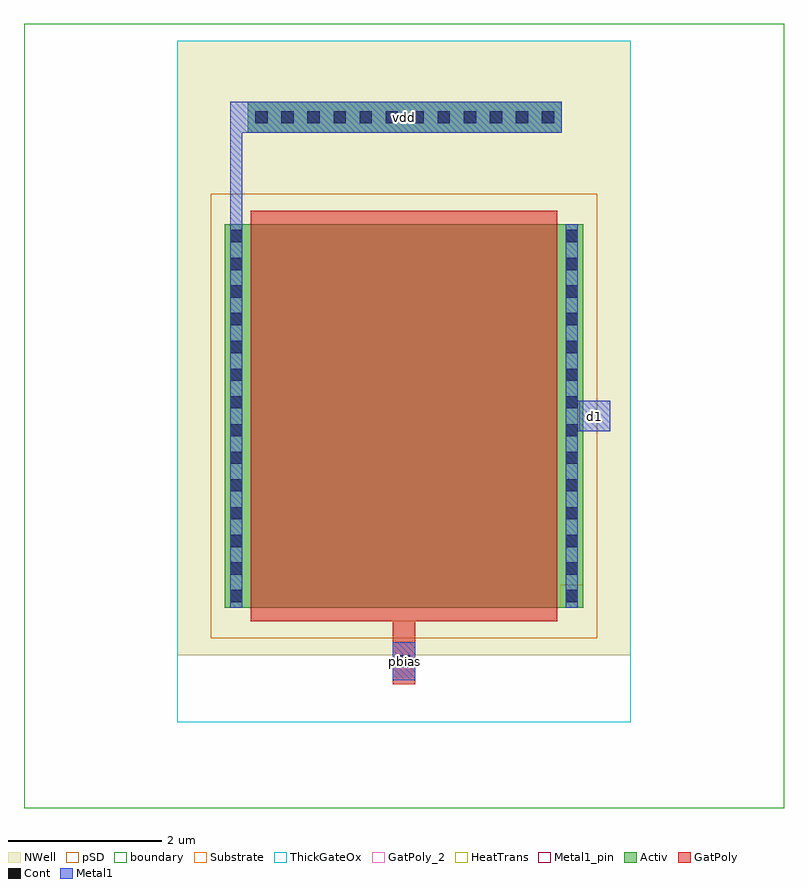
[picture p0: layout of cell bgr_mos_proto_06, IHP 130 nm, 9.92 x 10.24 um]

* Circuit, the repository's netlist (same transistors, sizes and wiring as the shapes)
.subckt bgr_mos_proto_06 d1 pbias vdd
MUNIT d1 pbias vdd vdd sg13_hv_pmos l=4u w=5u as=1.7p ad=1.7p ps=10.68u pd=10.68u rfmode=0
.ends bgr_mos_proto_06

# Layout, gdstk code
import gdstk
lib = gdstk.Library(unit=1e-6, precision=1e-09)
def R(c, l, rs):  # rectangles x0, y0, x1, y1
    for r in rs: c.add(gdstk.rectangle(r[:2], r[2:], *l))
def A(c, l, x, y, w, h, nx, ny, dx, dy):  # array of equal rectangles
    R(c, l, [(x+i*dx, y+j*dy, x+i*dx+w, y+j*dy+h) for i in range(nx) for j in range(ny)])
Activ = (1, 0)
GatPoly = (5, 0)
GatPoly_2 = (5, 2)
Cont = (6, 0)
Metal1 = (8, 0)
Metal1_pin = (8, 2)
pSD = (14, 0)
NWell = (31, 0)
Substrate = (40, 0)
ThickGateOx = (44, 0)
HeatTrans = (51, 0)
boundary = (189, 4)

pmoshv = lib.new_cell('pmosHV')
R(pmoshv, Activ, [(0,0,0.3,0.3), (0,0,4.68,5), (4.38,0,4.68,0.3)])
R(pmoshv, GatPoly, [(0.34,-0.18,4.34,5.18)])
R(pmoshv, GatPoly_2, [(0.34,-0.18,4.34,5.18)])
A(pmoshv, Cont, 0.07, 0.07, 0.16, 0.16, 1, 4, 0, 0.36)
A(pmoshv, Cont, 4.45, 0.07, 0.16, 0.16, 1, 4, 0, 0.36)
A(pmoshv, Cont, 0.07, 1.515, 0.16, 0.16, 1, 3, 0, 0.36)
A(pmoshv, Cont, 4.45, 1.515, 0.16, 0.16, 1, 3, 0, 0.36)
A(pmoshv, Cont, 0.07, 2.6, 0.16, 0.16, 1, 3, 0, 0.36)
A(pmoshv, Cont, 4.45, 2.6, 0.16, 0.16, 1, 3, 0, 0.36)
A(pmoshv, Cont, 0.07, 3.685, 0.16, 0.16, 1, 3, 0, 0.36)
A(pmoshv, Cont, 4.45, 3.685, 0.16, 0.16, 1, 3, 0, 0.36)
R(pmoshv, Cont, [(0.07,4.77,0.23,4.93), (4.45,4.77,4.61,4.93)])
R(pmoshv, Metal1, [(0.07,0,0.23,5), (4.45,0,4.61,5)])
R(pmoshv, Metal1_pin, [(0.07,0,0.23,5), (4.45,0,4.61,5)])
R(pmoshv, pSD, [(-0.18,-0.4,4.86,5.4)])
R(pmoshv, NWell, [(-0.62,-0.62,5.3,5.62)])
R(pmoshv, Substrate, [(4.38,0,4.68,0.3)])
R(pmoshv, ThickGateOx, [(-0.62,-0.62,5.3,5.62)])
R(pmoshv, HeatTrans, [(0.34,-0.18,4.34,5.18)])
pmoshv.add(gdstk.Label('pmosHV', (2.34,2.5), layer=63, texttype=0))
pmoshv.add(gdstk.Label('pmos', (2.34,2.5), layer=51, texttype=0))

bgr_mos_proto_06 = lib.new_cell('bgr_mos_proto_06')
R(bgr_mos_proto_06, Activ, [(10.3,16.2,14.4,16.6)])
R(bgr_mos_proto_06, GatPoly, [(12.19,9,12.49,9.82)])
A(bgr_mos_proto_06, Cont, 10.4, 16.32, 0.16, 0.16, 12, 1, 0.34, 0)
R(bgr_mos_proto_06, Cont, [(12.26,9.22,12.42,9.38)])
R(bgr_mos_proto_06, Metal1, [(12.19,9.05,12.49,9.55), (14.45,12.3,15.03,12.7), (10.07,14.9,10.23,16.6), (10.07,16.2,10.3,16.6), (10.3,16.2,14.4,16.6)])
R(bgr_mos_proto_06, Metal1_pin, [(12.19,9.05,12.49,9.55), (14.63,12.3,15.03,12.7), (10.3,16.2,14.4,16.6)])
R(bgr_mos_proto_06, NWell, [(9.38,9.38,15.3,17.4)])
R(bgr_mos_proto_06, ThickGateOx, [(9.38,8.5,15.3,17.4)])
R(bgr_mos_proto_06, boundary, [(7.38,7.38,17.3,17.62)])
bgr_mos_proto_06.add(gdstk.Reference(pmoshv, (10,10)))
bgr_mos_proto_06.add(gdstk.Label('pbias', (12.34,9.3), layer=8, texttype=25))
bgr_mos_proto_06.add(gdstk.Label('d1', (14.83,12.5), layer=8, texttype=25))
bgr_mos_proto_06.add(gdstk.Label('vdd', (12.35,16.4), layer=8, texttype=25))

lib.write_gds('bgr_mos_proto_06.gds')
